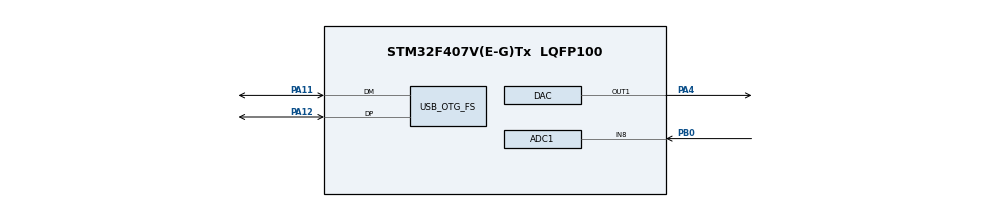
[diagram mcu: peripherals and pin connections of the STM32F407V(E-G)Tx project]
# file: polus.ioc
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ADC1.Channel-0\#ChannelRegularConversion=ADC_CHANNEL_8
ADC1.ClockPrescaler=ADC_CLOCK_SYNC_PCLK_DIV2
ADC1.ContinuousConvMode=ENABLE
ADC1.DMAContinuousRequests=ENABLE
ADC1.DataAlign=ADC_DATAALIGN_RIGHT
ADC1.DiscontinuousConvMode=DISABLE
ADC1.EOCSelection=ADC_EOC_SINGLE_CONV
ADC1.EnableAnalogWatchDog=false
ADC1.ExternalTrigConv=ADC_SOFTWARE_START
ADC1.ExternalTrigConvEdge=ADC_EXTERNALTRIGCONVEDGE_NONE
ADC1.InjNumberOfConversion=0
ADC1.NbrOfConversion=1
ADC1.NbrOfConversionFlag=1
ADC1.Rank-0\#ChannelRegularConversion=1
ADC1.Resolution=ADC_RESOLUTION_12B
ADC1.SamplingTime-0\#ChannelRegularConversion=ADC_SAMPLETIME_3CYCLES
ADC1.ScanConvMode=DISABLE
ADC1.master=1
Dma.ADC1.0.Direction=DMA_PERIPH_TO_MEMORY
Dma.ADC1.0.FIFOMode=DMA_FIFOMODE_DISABLE
Dma.ADC1.0.Instance=DMA2_Stream0
Dma.ADC1.0.MemDataAlignment=DMA_MDATAALIGN_WORD
Dma.ADC1.0.MemInc=DMA_MINC_ENABLE
Dma.ADC1.0.Mode=DMA_CIRCULAR
Dma.ADC1.0.PeriphDataAlignment=DMA_PDATAALIGN_WORD
Dma.ADC1.0.PeriphInc=DMA_PINC_DISABLE
Dma.ADC1.0.Priority=DMA_PRIORITY_HIGH
Dma.Request0=ADC1
Mcu.Family=STM32F4
Mcu.Name=STM32F407V(E-G)Tx
Mcu.Package=LQFP100
NVIC.DMA2_Stream0_IRQn=true\:0\:0\:false\:false\:true\:false
NVIC.OTG_FS_IRQn=true\:0\:0\:false\:false\:true\:false
NVIC.PriorityGroup=NVIC_PRIORITYGROUP_4
PA11.Mode=Device_Only
PA11.Signal=USB_OTG_FS_DM
PA12.Mode=Device_Only
PA12.Signal=USB_OTG_FS_DP
PA13.Mode=Serial_Wire
PA13.Signal=SYS_JTMS-SWDIO
PA14.Mode=Serial_Wire
PA14.Signal=SYS_JTCK-SWCLK
PA4.Signal=COMP_DAC1_group
PB0.Signal=ADCx_IN8
PH0-OSC_IN.Mode=HSE-External-Oscillator
PH0-OSC_IN.Signal=RCC_OSC_IN
PH1-OSC_OUT.Mode=HSE-External-Oscillator
PH1-OSC_OUT.Signal=RCC_OSC_OUT
ProjectManager.HeapSize=0x400
ProjectManager.StackSize=0x400
ProjectManager.TargetToolchain=MDK-ARM V5
RCC.48MHZClocksFreq_Value=48000000
RCC.AHBFreq_Value=96000000
RCC.APB1CLKDivider=RCC_HCLK_DIV4
RCC.APB1Freq_Value=24000000
RCC.APB1TimFreq_Value=48000000
RCC.APB2CLKDivider=RCC_HCLK_DIV2
RCC.APB2Freq_Value=48000000
RCC.APB2TimFreq_Value=96000000
RCC.CortexFreq_Value=96000000
RCC.HCLKFreq_Value=96000000
RCC.HSE_VALUE=8000000
RCC.HSI_VALUE=16000000
RCC.LSE_VALUE=32768
RCC.PLLM=8
RCC.SYSCLKFreq_VALUE=96000000
RCC.SYSCLKSource=RCC_SYSCLKSOURCE_PLLCLK
RCC.VCOOutputFreq_Value=192000000
SH.ADCx_IN8.0=ADC1_IN8,IN8
SH.COMP_DAC1_group.0=DAC_OUT1,DAC_OUT1
USB_DEVICE.CLASS_NAME_FS=CDC
USB_DEVICE.VirtualMode-CDC_FS=Cdc
USB_DEVICE.VirtualModeFS=Cdc_FS
USB_OTG_FS.VirtualMode=Device_Only
VP_USB_DEVICE_VS_USB_DEVICE_CDC_FS.Mode=CDC_FS
board=polus

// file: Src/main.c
/**
  ******************************************************************************
  * @file           : main.c
  * @brief          : Main program body
  * @author         : Nick Makhno
  * @version        : 1.0
  * @date           : 18.04.2015
  ******************************************************************************
  *
  *The ADC1 is configured to convert continuously channel8 (ADC1_IN8, pin PB.00 on STM32F407xx Device).
  *
  *Each time an end of conversion occurs the DMA transfers(DMA2 Stream0, Channel 0), in circular mode,
  *the converted data from ADC1 DR register to the uhADCxConvertedData variable.
  *
  *The system clock is 96MHz, APB2 = 48MHz and ADC clock = APB2/2.
  *Since ADC1 clock is 24 MHz and sampling time is set to 3 cycles, the conversion
  *time to 12bit data is 12 cycles so the total conversion time is (12+3)/24= 0.625us(1.6Msps).
  *
  *User can vary the ADC1 channel8 (for STM32F4-Discovery) voltage probing external
  *power supply on PB.00 Gpio pin.
  *
  *The SysTick timer used to generate interrupt each 1 millisecond to read ADC conversions raw data from
  *uhADCxConvertedData variable and write it to DAC peripheral (Channel 1, PA.04 Gpio pin) and ADCxCodeBuffer
  *to computation moving average value.
  *
  *The msCount milliceconds counter used to countdown 1000ms for computation the physical value (voltage, mV units)
  *and write it to Virtual COM Port each 1 second.
  *
  ******************************************************************************
  */
#include "main.h"
#include "stm32f4xx_hal.h"
#include "usb_device.h"

/* USER CODE BEGIN Includes */
#include "usbd_cdc_if.h"
/* USER CODE END Includes */

/* USER CODE BEGIN PV */
/* Private variables ---------------------------------------------------------*/

/* Variables for ADC conversion data */

/**
  * @brief ADC conversion data buffer
  */
__IO uint16_t ADCxCodeBuffer[ADC_CONVERTED_DATA_BUFFER_SIZE];

/**
  * @brief ADC conversion data
  */
__IO uint16_t uhADCxConvertedData = 0;

/**
  * @brief ADC conversion data buffer average
  */
__IO uint16_t uhADCxConvertedDataAverage = 0;

/**
  * @brief ADC conversion data buffer sum
  */
__IO uint32_t ADCxCodeSum = 0;

/* Control variables */

/**
  * @brief SYSTICK timer flag
  */
__IO uint16_t sysTickFlag = 0;

/**
  * @brief Milliceconds counter
  */
__IO uint16_t msCount = 0;

/* USER CODE END PV */

void SystemClock_Config(void);
static void MX_GPIO_Init(void);
static void MX_DMA_Init(void);
static void MX_ADC1_Init(void);
static void MX_DAC_Init(void);

/* USER CODE BEGIN PFP */
/* Private function prototypes -----------------------------------------------*/
void     Activate_ADC(void);
void     ConversionStart_ADC(void);
void     Activate_DAC(void);
/* USER CODE END PFP */

int main(void)
{
  /* USER CODE BEGIN 1 */
  char buffer[10] = {'\0'};
  /* USER CODE END 1 */

  /* MCU Configuration----------------------------------------------------------*/

  /* Reset of all peripherals, Initializes the Flash interface and the Systick. */
  HAL_Init();

  /* Configure the system clock */
  SystemClock_Config();

  /* USER CODE BEGIN SysInit */
  LL_SYSTICK_EnableIT();
  /* USER CODE END SysInit */

  /* Initialize all configured peripherals */
  MX_GPIO_Init();
  MX_DMA_Init();
  MX_ADC1_Init();
  MX_DAC_Init();
  MX_USB_DEVICE_Init();
  /* USER CODE BEGIN 2 */

  /* ADC activation */
  Activate_ADC();

  /* ADC start conversion */
  ConversionStart_ADC();

  /* DAC activation */
  Activate_DAC();

  /* USER CODE END 2 */

  /* Infinite loop */
  /* USER CODE BEGIN WHILE */
  do if (sysTickFlag)
  {

  /* USER CODE END WHILE */

  /* USER CODE BEGIN 3 */

    /* Read ADC conversions raw data in uhADCxData variable */
		uint16_t uhADCxData = uhADCxConvertedData;

    /* Set data to DAC channel1 */
    LL_DAC_ConvertData12RightAligned(DAC,LL_DAC_CHANNEL_1,uhADCxData);

    /* Computation sum of ADC conversions raw data in buffer */

    /* Subtract element from sum */
    ADCxCodeSum -= ADCxCodeBuffer[msCount];

    /* Update element in buffer */
    ADCxCodeBuffer[msCount] = uhADCxData;

    /* Add element to sum */
    ADCxCodeSum += uhADCxData;

    if (msCount < ADC_CONVERTED_DATA_BUFFER_SIZE - 1)
    {
      /* Increment millisecon counter */
      msCount++;
		}
    else
    {
      /* Computation average of ADC conversions raw data from buffer */
      uhADCxConvertedDataAverage = ADCxCodeSum / ADC_CONVERTED_DATA_BUFFER_SIZE;

      /* Computation of ADC conversions raw data average to physical value */
      uint16_t uhADCxConvertedData_Voltage_mVolt = __LL_ADC_CALC_DATA_TO_VOLTAGE(VDDA_APPLI, uhADCxConvertedDataAverage, LL_ADC_RESOLUTION_12B);

      /* Copy voltage value to transmit buffer */
      sprintf(buffer, "%d mV\r\n", uhADCxConvertedData_Voltage_mVolt);

      /*Send transmit buffer to VCP */
      CDC_Transmit_FS((uint8_t*)buffer,sizeof(buffer));

      /* Zeroing millisecon counter */
      msCount = 0;
    }

    /* Reset sysTickFlag */
    sysTickFlag = 0;

  }  while (1);
  /* USER CODE END 3 */

}

void SystemClock_Config(void)
{

  LL_FLASH_SetLatency(LL_FLASH_LATENCY_3);

  if(LL_FLASH_GetLatency() != LL_FLASH_LATENCY_3)
  {
  Error_Handler();
  }
  LL_PWR_SetRegulVoltageScaling(LL_PWR_REGU_VOLTAGE_SCALE1);

  LL_RCC_HSE_Enable();

   /* Wait till HSE is ready */
  while(LL_RCC_HSE_IsReady() != 1)
  {

  }
  LL_RCC_PLL_ConfigDomain_SYS(LL_RCC_PLLSOURCE_HSE, LL_RCC_PLLM_DIV_8, 192, LL_RCC_PLLP_DIV_2);

  LL_RCC_PLL_ConfigDomain_48M(LL_RCC_PLLSOURCE_HSE, LL_RCC_PLLM_DIV_8, 192, LL_RCC_PLLQ_DIV_4);

  LL_RCC_PLL_Enable();

   /* Wait till PLL is ready */
  while(LL_RCC_PLL_IsReady() != 1)
  {

  }
  LL_RCC_SetAHBPrescaler(LL_RCC_SYSCLK_DIV_1);

  LL_RCC_SetAPB1Prescaler(LL_RCC_APB1_DIV_4);

  LL_RCC_SetAPB2Prescaler(LL_RCC_APB2_DIV_2);

  LL_RCC_SetSysClkSource(LL_RCC_SYS_CLKSOURCE_PLL);

   /* Wait till System clock is ready */
  while(LL_RCC_GetSysClkSource() != LL_RCC_SYS_CLKSOURCE_STATUS_PLL)
  {

  }
  LL_Init1msTick(96000000);

  LL_SYSTICK_SetClkSource(LL_SYSTICK_CLKSOURCE_HCLK);

  LL_SetSystemCoreClock(96000000);

  /* SysTick_IRQn interrupt configuration */
  NVIC_SetPriority(SysTick_IRQn, NVIC_EncodePriority(NVIC_GetPriorityGrouping(),0, 0));
}

/* ADC1 init function */
static void MX_ADC1_Init(void)
{

  LL_ADC_InitTypeDef ADC_InitStruct;
  LL_ADC_REG_InitTypeDef ADC_REG_InitStruct;
  LL_ADC_CommonInitTypeDef ADC_CommonInitStruct;

  LL_GPIO_InitTypeDef GPIO_InitStruct;

  /* Peripheral clock enable */
  LL_APB2_GRP1_EnableClock(LL_APB2_GRP1_PERIPH_ADC1);

  /**ADC1 GPIO Configuration
  PB0   ------> ADC1_IN8
  */
  GPIO_InitStruct.Pin = LL_GPIO_PIN_0;
  GPIO_InitStruct.Mode = LL_GPIO_MODE_ANALOG;
  GPIO_InitStruct.Pull = LL_GPIO_PULL_NO;
  LL_GPIO_Init(GPIOB, &GPIO_InitStruct);

  /* ADC1 DMA Init */

  /* ADC1 Init */
  LL_DMA_SetChannelSelection(DMA2, LL_DMA_STREAM_0, LL_DMA_CHANNEL_0);

  LL_DMA_SetDataTransferDirection(DMA2, LL_DMA_STREAM_0, LL_DMA_DIRECTION_PERIPH_TO_MEMORY);

  LL_DMA_SetStreamPriorityLevel(DMA2, LL_DMA_STREAM_0, LL_DMA_PRIORITY_HIGH);

  LL_DMA_SetMode(DMA2, LL_DMA_STREAM_0, LL_DMA_MODE_CIRCULAR);

  LL_DMA_SetPeriphIncMode(DMA2, LL_DMA_STREAM_0, LL_DMA_PERIPH_NOINCREMENT);

  LL_DMA_SetMemoryIncMode(DMA2, LL_DMA_STREAM_0, LL_DMA_MEMORY_INCREMENT);

  LL_DMA_SetPeriphSize(DMA2, LL_DMA_STREAM_0, LL_DMA_PDATAALIGN_WORD);

  LL_DMA_SetMemorySize(DMA2, LL_DMA_STREAM_0, LL_DMA_MDATAALIGN_WORD);

  LL_DMA_DisableFifoMode(DMA2, LL_DMA_STREAM_0);

    /**Common config
    */
  ADC_InitStruct.Resolution = LL_ADC_RESOLUTION_12B;
  ADC_InitStruct.DataAlignment = LL_ADC_DATA_ALIGN_RIGHT;
  ADC_InitStruct.SequencersScanMode = LL_ADC_SEQ_SCAN_DISABLE;
  LL_ADC_Init(ADC1, &ADC_InitStruct);

  ADC_REG_InitStruct.TriggerSource = LL_ADC_REG_TRIG_SOFTWARE;
  ADC_REG_InitStruct.SequencerLength = LL_ADC_REG_SEQ_SCAN_DISABLE;
  ADC_REG_InitStruct.SequencerDiscont = LL_ADC_REG_SEQ_DISCONT_DISABLE;
  ADC_REG_InitStruct.ContinuousMode = LL_ADC_REG_CONV_CONTINUOUS;
  ADC_REG_InitStruct.DMATransfer = LL_ADC_REG_DMA_TRANSFER_UNLIMITED;
  LL_ADC_REG_Init(ADC1, &ADC_REG_InitStruct);

  LL_ADC_REG_SetFlagEndOfConversion(ADC1, LL_ADC_REG_FLAG_EOC_UNITARY_CONV);

  ADC_CommonInitStruct.CommonClock = LL_ADC_CLOCK_SYNC_PCLK_DIV2;
  ADC_CommonInitStruct.Multimode = LL_ADC_MULTI_INDEPENDENT;
  LL_ADC_CommonInit(__LL_ADC_COMMON_INSTANCE(ADC1), &ADC_CommonInitStruct);

    /**Configure Regular Channel
    */
  LL_ADC_REG_SetSequencerRanks(ADC1, LL_ADC_REG_RANK_1, LL_ADC_CHANNEL_8);

  LL_ADC_SetChannelSamplingTime(ADC1, LL_ADC_CHANNEL_8, LL_ADC_SAMPLINGTIME_3CYCLES);

}

/* DAC init function */
static void MX_DAC_Init(void)
{

  LL_DAC_InitTypeDef DAC_InitStruct;

  LL_GPIO_InitTypeDef GPIO_InitStruct;

  /* Peripheral clock enable */
  LL_APB1_GRP1_EnableClock(LL_APB1_GRP1_PERIPH_DAC1);

  /**DAC GPIO Configuration
  PA4   ------> DAC_OUT1
  */
  GPIO_InitStruct.Pin = LL_GPIO_PIN_4;
  GPIO_InitStruct.Mode = LL_GPIO_MODE_ANALOG;
  GPIO_InitStruct.Pull = LL_GPIO_PULL_NO;
  LL_GPIO_Init(GPIOA, &GPIO_InitStruct);

    /**DAC channel OUT1 config
    */
  DAC_InitStruct.TriggerSource = LL_DAC_TRIG_SOFTWARE;
  DAC_InitStruct.WaveAutoGeneration = LL_DAC_WAVE_AUTO_GENERATION_NONE;
  DAC_InitStruct.OutputBuffer = LL_DAC_OUTPUT_BUFFER_ENABLE;
  LL_DAC_Init(DAC, LL_DAC_CHANNEL_1, &DAC_InitStruct);

}

static void MX_DMA_Init(void)
{
  /* Init with LL driver */
  /* DMA controller clock enable */
  LL_AHB1_GRP1_EnableClock(LL_AHB1_GRP1_PERIPH_DMA2);

  /* DMA interrupt init */
  /* DMA2_Stream0_IRQn interrupt configuration */
  NVIC_SetPriority(DMA2_Stream0_IRQn, NVIC_EncodePriority(NVIC_GetPriorityGrouping(),0, 0));
  NVIC_EnableIRQ(DMA2_Stream0_IRQn);

}

/** Configure pins as
        * Analog
        * Input
        * Output
        * EVENT_OUT
        * EXTI
*/
static void MX_GPIO_Init(void)
{

  /* GPIO Ports Clock Enable */
  LL_AHB1_GRP1_EnableClock(LL_AHB1_GRP1_PERIPH_GPIOH);
  LL_AHB1_GRP1_EnableClock(LL_AHB1_GRP1_PERIPH_GPIOA);
  LL_AHB1_GRP1_EnableClock(LL_AHB1_GRP1_PERIPH_GPIOB);

}

/* USER CODE BEGIN 4 */

/**
  * @brief  Perform ADC activation procedure to make it ready to convert
  *         (ADC instance: ADC1).
  * @note   Operations:
  *         - ADC instance
  *           - Enable ADC
  * @retval None
  */
void Activate_ADC(void)
{
  __IO uint32_t counter = 0U;

  /* Set DMA transfer addresses of source and destination */
  LL_DMA_ConfigAddresses(DMA2,
                         LL_DMA_STREAM_0,
                         LL_ADC_DMA_GetRegAddr(ADC1, LL_ADC_DMA_REG_REGULAR_DATA),
                         (uint32_t)&uhADCxConvertedData,
                         LL_DMA_DIRECTION_PERIPH_TO_MEMORY);

  /* Set DMA transfer size */
  LL_DMA_SetDataLength(DMA2,
                       LL_DMA_STREAM_0,
                       ADC_CONVERTED_DATA_DMA_BUFFER_SIZE);

  /* Enable the DMA transfer */
  LL_DMA_EnableStream(DMA2,LL_DMA_STREAM_0);

  /* Enable ADC */
  LL_ADC_Enable(ADC1);

  /* Delay for ADC stabilization time */
  /* Compute number of CPU cycles to wait for */
  counter = (ADC_STAB_DELAY_US * (SystemCoreClock / 1000000U));
  while(counter != 0U)
  {
    counter--;
  }
}

/**
  * @brief  Perform DAC activation procedure
  * @note   Operations:
  *         - DAC channel 1
  *           - Enable DAC
  * @retval None
  */
void Activate_DAC(void)
{
  LL_DAC_Enable(DAC,LL_DAC_CHANNEL_1);
}

/**
  * @brief  Perform ADC conversion start.
  *         (ADC instance: ADC1).
  * @retval None
  */
void ConversionStart_ADC(void)
{
  /* Start ADC conversion */
  LL_ADC_REG_StartConversionSWStart(ADC1);
}

/**
  * @brief  Period elapsed callback in non blocking mode
  * @note   This function is called  when SYSTICK interrupt took place, inside
  * HAL_SYSTICK_IRQHandler(). It makes a direct call to HAL_IncTick() to increment
  * a global variable "uwTick" used as application time base.
  * @retval None
  */
void HAL_SYSTICK_Callback(void)
{
  /* Set sysTickFlag */
  sysTickFlag++;
}
/* USER CODE END 4 */

void _Error_Handler(char *file, int line)
{
  while(1)
  {
  }
}

/************************ (C) COPYRIGHT STMicroelectronics *****END OF FILE****/
